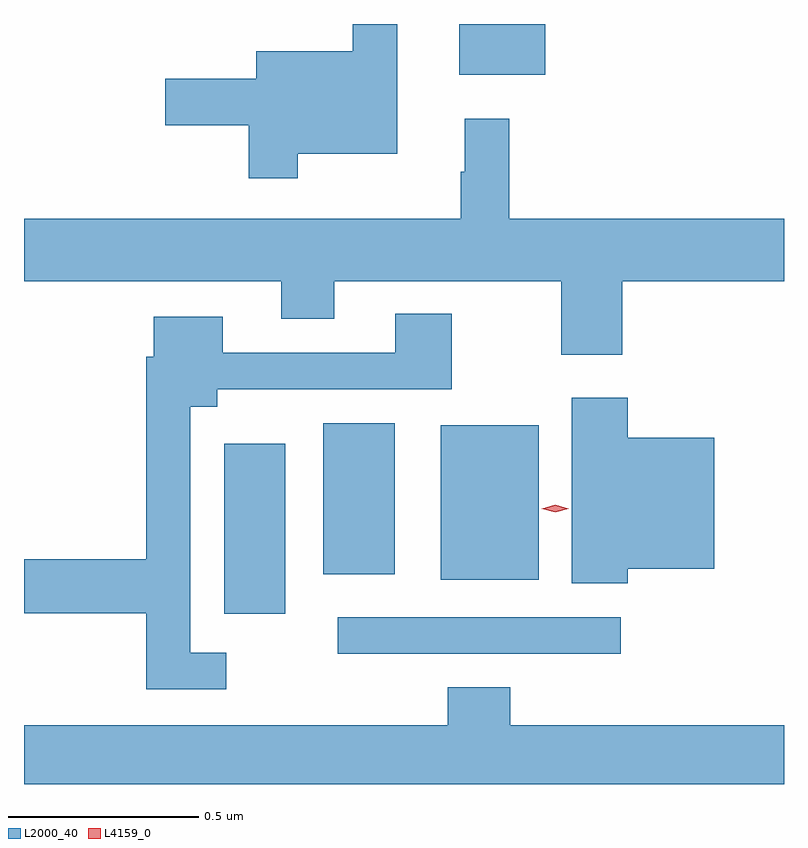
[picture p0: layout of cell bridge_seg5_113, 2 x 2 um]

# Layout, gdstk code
import gdstk
lib = gdstk.Library(unit=1e-6, precision=1e-09)
def R(c, l, rs):  # rectangles x0, y0, x1, y1
    for r in rs: c.add(gdstk.rectangle(r[:2], r[2:], *l))
def P(c, l, *ps):  # polygons
    for p in ps: c.add(gdstk.Polygon(p, *l))
L2000_40 = (2000, 40)
L4159_0 = (4159, 0)

bridge_seg5_113 = lib.new_cell('bridge_seg5_113')
R(bridge_seg5_113, L2000_40, [(397.611,843.792,398.356,843.888), (397.313,843.897,397.474,844.345), (397.883,843.986,398.14,844.393), (397.574,844.001,397.762,844.399), (397.931,845.315,398.158,845.449)])
P(bridge_seg5_113, L2000_40, [(397.507,845.108),(397.768,845.108),(397.768,845.449),(397.651,845.449),(397.651,845.377),(397.397,845.377),(397.397,845.305),(397.158,845.305),(397.158,845.183),(397.378,845.183),(397.378,845.043),(397.507,845.043)],
  [(398.36,844.772),(398.786,844.772),(398.786,844.936),(398.063,844.936),(398.063,845.2),(397.946,845.2),(397.946,845.06),(397.935,845.06),(397.935,844.936),(396.786,844.936),(396.786,844.772),(397.463,844.772),(397.463,844.673),(397.603,844.673),(397.603,844.772),(398.2,844.772),(398.2,844.578),(398.36,844.578)],
  [(397.318,843.795),(397.224,843.795),(397.224,844.442),(397.294,844.442),(397.294,844.488),(397.911,844.488),(397.911,844.687),(397.763,844.687),(397.763,844.584),(397.309,844.584),(397.309,844.678),(397.127,844.678),(397.127,844.574),(397.108,844.574),(397.108,844.04),(396.786,844.04),(396.786,843.898),(397.108,843.898),(397.108,843.699),(397.318,843.699)],
  [(398.375,844.016),(398.602,844.016),(398.602,844.36),(398.375,844.36),(398.375,844.465),(398.228,844.465),(398.228,843.977),(398.375,843.977)],
  [(398.786,843.604),(398.066,843.604),(398.066,843.703),(397.901,843.703),(397.901,843.604),(396.786,843.604),(396.786,843.449),(398.786,843.449)])
P(bridge_seg5_113, L4159_0, [(398.184,844.164),(398.148,844.174),(398.148,844.174),(398.148,844.174),(398.184,844.184),(398.219,844.174),(398.22,844.174),(398.219,844.174)])

lib.write_gds('bridge_seg5_113.gds')
